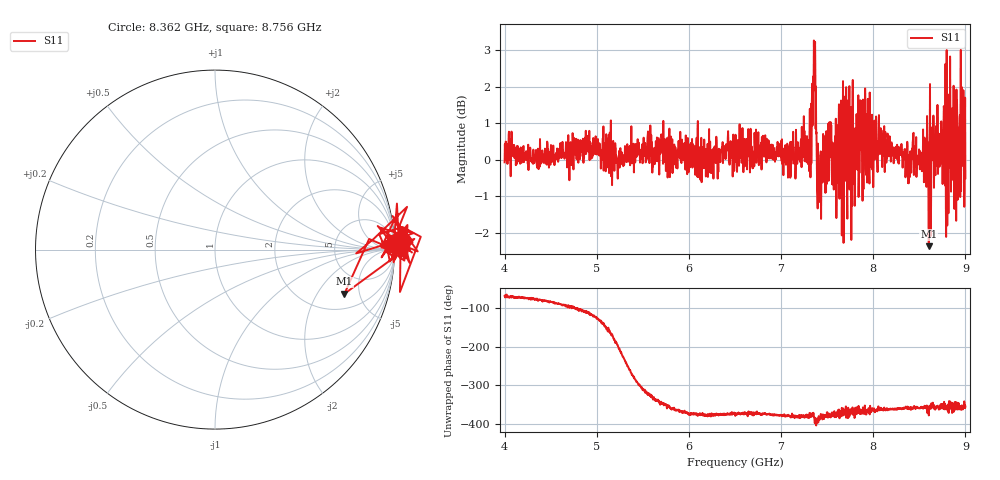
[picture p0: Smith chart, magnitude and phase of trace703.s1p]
! Created with skrf 1.8.0 (http://scikit-rf.org).
# Hz S RI R 50.0
!freq ReS11 ImS11
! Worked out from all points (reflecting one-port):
!   1601 points, 4 GHz to 9 GHz, reference 50 ohm
!   lowest |S11| = -2.4 dB at 8.603 GHz (marker M1), VSWR 7.41, Z = 152 - j178 ohm
!   phase of S11 starts at -68 deg and turns -287 deg over the sweep
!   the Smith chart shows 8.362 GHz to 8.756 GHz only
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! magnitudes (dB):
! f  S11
! 4 GHz  -0.1
! 4.625 GHz  0.2
! 4.894 GHz  0.3
! 5.25 GHz  -0.2
! 5.572 GHz  -0.1
! 5.875 GHz  -0.2
! 6.5 GHz  0.3
! 7.125 GHz  0.4
! 7.294 GHz  -0.1
! 7.356 GHz  3.3
! 7.412 GHz  -1.2
! 7.525 GHz  1.0
! 7.578 GHz  0.4
! 7.622 GHz  0.9
! 7.631 GHz  -0.8
! 7.75 GHz  -0.7
! 7.784 GHz  0.5
! 7.8 GHz  -1.3
! 7.922 GHz  -0.4
! 8.375 GHz  -0.2
! 8.441 GHz  -0.4
! 8.603 GHz  -2.4
! 8.656 GHz  0.8
! 8.806 GHz  0.0
! 8.819 GHz  1.1
! 8.919 GHz  0.2
! 8.956 GHz  0.5
! 9 GHz  -0.5
